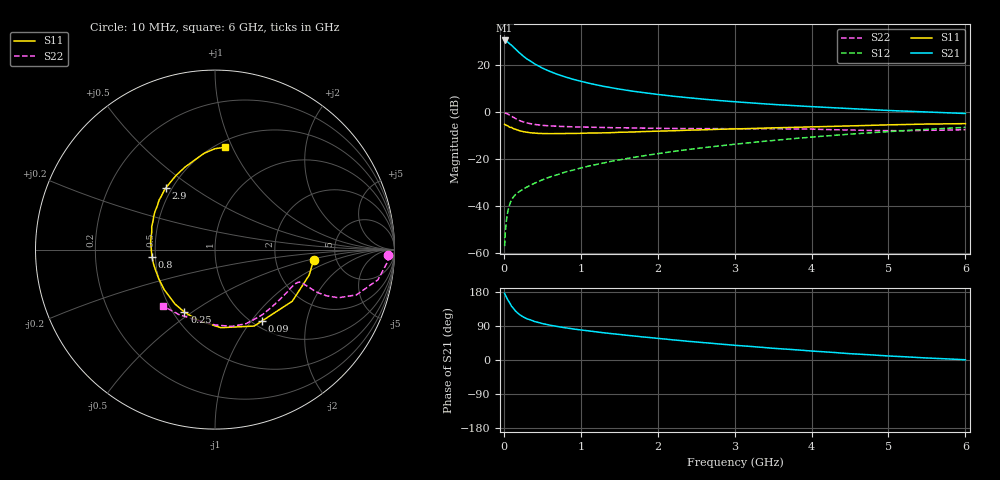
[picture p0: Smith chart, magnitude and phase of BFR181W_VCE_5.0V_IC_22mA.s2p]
! Infineon Technologies  Discrete & RF Semiconductors
! BFR181W
! VCE =  5.0 V,  IC =  22 mA
! Common Emitter S-Parameters:  Jan 2017
# GHz  S  MA  R  50
!  f  S11  S21  S12  S22
! GHz  MAG  ANG  MAG  ANG  MAG  ANG  MAG  ANG
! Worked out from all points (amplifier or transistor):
!   77 points, 10 MHz to 6 GHz, reference 50 ohm
!   highest |S21| = 30.6 dB at 10 MHz (marker M1)
!   |S21| within 3 dB of that: start of sweep to 130.2 MHz
!   unconditionally stable (mu >= 1): 549.6 MHz to 2.412 GHz
!   at 130 MHz: K = 0.46, MSG = 31.8 dB, |S12| = -35.9 dB
!   at 2.2 GHz: K = 1.03, MAG = 10.7 dB, |S12| = -16.7 dB
!   at 6 GHz: K = 0.83, MSG = 3.0 dB, |S12| = -6.4 dB
!   S11 on the Smith chart (normalised r, x): 10 MHz: 3.37, -0.56; 90 MHz: 1.10, -1.13; 250 MHz: 0.57, -0.47; 800 MHz: 0.48, -0.04; 2.9 GHz: 0.46, +0.39; 6 GHz: 0.55, +0.94
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0.01  0.5528 -6.0  34.01 175.9  0.0014 87.4  0.9655 -1.8
0.02  0.5435 -15.2  33.67 171.0  0.0029 97.3  0.9642 -4.0
0.05  0.5178 -33.8  31.62 159.0  0.0075 76.2  0.9236 -10.5
0.09  0.476 -56.8  27.65 145.7  0.0125 71.4  0.845 -16.2
0.1  0.4785 -62.9  26.94 141.8  0.0138 70.8  0.8268 -17.8
0.15  0.4362 -85.7  22.43 129.5  0.0176 63.2  0.739 -21.3
0.2  0.4062 -102.3  18.7 120.4  0.0204 64.0  0.6723 -22.5
0.25  0.388 -116.0  15.92 113.9  0.023 62.6  0.626 -22.7
0.3  0.3761 -126.5  13.73 108.8  0.0255 62.8  0.5919 -22.4
0.4  0.3606 -141.5  10.78 101.5  0.0308 65.6  0.5511 -21.6
0.5  0.353 -152.6  8.776 96.2  0.0363 67.7  0.5281 -21.1
0.6  0.3505 -160.9  7.423 91.9  0.0419 68.6  0.5133 -21.0
0.8  0.3532 -173.4  5.667 85.0  0.0534 72.6  0.4966 -21.6
0.9  0.3541 -178.4  5.055 82.0  0.0586 72.9  0.4902 -22.4
1.1  0.3609 173.5  4.189 76.9  0.0711 74.5  0.4819 -24.1
1.5  0.375 160.1  3.126 67.5  0.0967 75.3  0.468 -29.1
2.1  0.3998 144.9  2.303 55.2  0.1384 74.2  0.4536 -39.4
2.9  0.4386 128.7  1.73 40.6  0.1999 70.4  0.4475 -55.4
3.1  0.4465 125.0  1.635 37.4  0.2167 69.1  0.446 -59.3
4.1  0.4935 108.3  1.296 22.4  0.3049 61.0  0.4332 -79.8
5.1  0.5442 95.0  1.078 9.6  0.3961 50.9  0.4057 -107.0
6  0.5736 84.2  0.943 0.6  0.4778 41.0  0.427 -132.3
